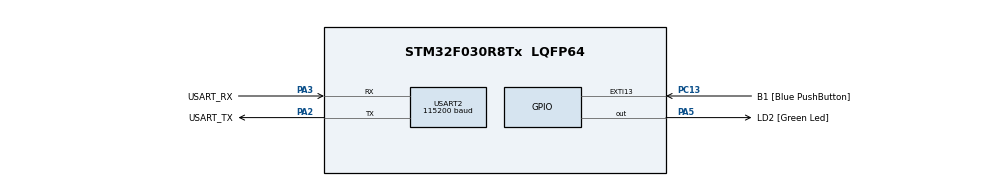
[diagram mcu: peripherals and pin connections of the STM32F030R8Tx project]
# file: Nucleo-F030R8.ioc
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Mcu.Family=STM32F0
Mcu.Name=STM32F030R8Tx
Mcu.Package=LQFP64
NVIC.USART2_IRQn=true\:0\:0\:false\:false\:true\:true\:true\:true
PA13.GPIO_Label=TMS
PA13.Mode=Serial_Wire
PA13.Signal=SYS_SWDIO
PA14.GPIO_Label=TCK
PA14.Mode=Serial_Wire
PA14.Signal=SYS_SWCLK
PA2.GPIO_Label=USART_TX
PA2.GPIO_Mode=GPIO_MODE_AF_PP
PA2.GPIO_PuPd=GPIO_NOPULL
PA2.GPIO_Speed=GPIO_SPEED_FREQ_LOW
PA2.Mode=Asynchronous
PA2.Signal=USART2_TX
PA3.GPIO_Label=USART_RX
PA3.GPIO_Mode=GPIO_MODE_AF_PP
PA3.GPIO_PuPd=GPIO_NOPULL
PA3.GPIO_Speed=GPIO_SPEED_FREQ_LOW
PA3.Mode=Asynchronous
PA3.Signal=USART2_RX
PA5.GPIO_Label=LD2 [Green Led]
PA5.GPIO_Mode=GPIO_MODE_OUTPUT_PP
PA5.GPIO_PuPd=GPIO_NOPULL
PA5.GPIO_Speed=GPIO_SPEED_FREQ_LOW
PA5.Signal=GPIO_Output
PC13.GPIO_Label=B1 [Blue PushButton]
PC13.GPIO_ModeDefaultEXTI=GPIO_MODE_IT_FALLING
PC13.Signal=GPXTI13
PC14-OSC32_IN.Mode=LSE-External-Oscillator
PC14-OSC32_IN.Signal=RCC_OSC32_IN
PC15-OSC32_OUT.Mode=LSE-External-Oscillator
PC15-OSC32_OUT.Signal=RCC_OSC32_OUT
PF0-OSC_IN.Mode=HSE-External-Clock-Source
PF0-OSC_IN.Signal=RCC_OSC_IN
PF1-OSC_OUT.Signal=RCC_OSC_OUT
ProjectManager.HeapSize=0x200
ProjectManager.StackSize=0x400
ProjectManager.TargetToolchain=Makefile
RCC.AHBFreq_Value=32000000
RCC.APB1Freq_Value=32000000
RCC.APB1TimFreq_Value=32000000
RCC.HCLKFreq_Value=32000000
RCC.PLLMUL=RCC_PLL_MUL8
RCC.SYSCLKFreq_VALUE=32000000
RCC.SYSCLKSource=RCC_SYSCLKSOURCE_PLLCLK
USART2.BaudRate=115200
USART2.VirtualMode-Asynchronous=VM_ASYNC
USART2.WordLength=WORDLENGTH_9B
board=NUCLEO-F030R8

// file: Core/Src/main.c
/* USER CODE BEGIN Header */
/**
 ******************************************************************************
 * @file           : main.c
 * @brief          : Main program body
 ******************************************************************************
 * @attention
 *
 * Copyright (c) 2024 STMicroelectronics.
 * All rights reserved.
 *
 * This software is licensed under terms that can be found in the LICENSE file
 * in the root directory of this software component.
 * If no LICENSE file comes with this software, it is provided AS-IS.
 *
 ******************************************************************************
 */
/* USER CODE END Header */
#include "main.h"

/* USER CODE BEGIN Includes */
#include "trice.h"
/* USER CODE END Includes */

void SystemClock_Config(void);
static void MX_GPIO_Init(void);
static void MX_USART2_UART_Init(void);

int main(void) {

	/* USER CODE BEGIN 1 */
#if !TRICE_OFF
	TriceInit(); // This so early, to allow trice logs inside interrupts from the beginning. Only needed for RTT.
	TriceHeadLine("  𝕹𝖀𝕮𝕷𝕰𝕺-F030R8   ");
#endif
	/* USER CODE END 1 */

	/* MCU Configuration--------------------------------------------------------*/

	/* Reset of all peripherals, Initializes the Flash interface and the Systick. */
	LL_APB1_GRP2_EnableClock(LL_APB1_GRP2_PERIPH_SYSCFG);
	LL_APB1_GRP1_EnableClock(LL_APB1_GRP1_PERIPH_PWR);

	/* Configure the system clock */
	SystemClock_Config();

	/* Initialize all configured peripherals */
	MX_GPIO_Init();
	MX_USART2_UART_Init();
	/* USER CODE BEGIN 2 */
#if !TRICE_OFF
	SysTick->CTRL |= SysTick_CTRL_TICKINT_Msk; // enable SysTick interrupt
	LogTriceConfiguration();
	SomeExampleTrices(3);
#endif
	/* USER CODE END 2 */

	/* Infinite loop */
	/* USER CODE BEGIN WHILE */
	while (1) {
#if !TRICE_OFF
		static uint32_t lastMs = 0;
		if (lastMs != ms32) { // each ms
			lastMs = ms32;

#if TRICE_DIAGNOSTICS == 1
			static uint32_t msDiag = 0;
			msDiag++;
			if (msDiag >= 3000) {
				msDiag = 0;
				TriceLogDiagnosticData();
			}
#endif
			static uint32_t msCheck = 0;
			msCheck++;
			if (msCheck >= 1000) {
				msCheck = 0;
				SomeExampleTrices(5);
			}

#if (TRICE_BUFFER == TRICE_RING_BUFFER) || (TRICE_BUFFER == TRICE_DOUBLE_BUFFER)

			static uint32_t msTransfer = 0;
			msTransfer++;
			if (msTransfer >= 100) {
				msTransfer = 0;
				// Serve deferred trice transfer every few ms or if TRICE_BUFFER is getting filled. With an RTOS put this in a separate task.
				// In TRICE_RING_BUFFER && TRICE_SINGLE_PACK_MODE TriceTransfer can transmit only 1 Trice per call, so call it every 1ms then.
				// In TRICE_DOUBLE_BUFFER TriceTransfer transmits one half buffer.
				TriceTransfer(); // serve deferred output
			}
#if TRICE_RING_BUFFER_OVERFLOW_WATCH == 1
			WatchRingBufferMargins();
#endif

#endif // #if ( TRICE_BUFFER == TRICE_RING_BUFFER) || ( TRICE_BUFFER == TRICE_DOUBLE_BUFFER)
		}

		/* USER CODE END WHILE */

		/* USER CODE BEGIN 3 */
#endif // #if !TRICE_OFF
	}
	/* USER CODE END 3 */
}

void SystemClock_Config(void) {
	LL_FLASH_SetLatency(LL_FLASH_LATENCY_1);
	while (LL_FLASH_GetLatency() != LL_FLASH_LATENCY_1) {
	}
	LL_RCC_HSI_Enable();

	/* Wait till HSI is ready */
	while (LL_RCC_HSI_IsReady() != 1) {
	}
	LL_RCC_HSI_SetCalibTrimming(16);
	LL_RCC_PLL_ConfigDomain_SYS(LL_RCC_PLLSOURCE_HSI_DIV_2, LL_RCC_PLL_MUL_8);
	LL_RCC_PLL_Enable();

	/* Wait till PLL is ready */
	while (LL_RCC_PLL_IsReady() != 1) {
	}
	LL_RCC_SetAHBPrescaler(LL_RCC_SYSCLK_DIV_1);
	LL_RCC_SetAPB1Prescaler(LL_RCC_APB1_DIV_1);
	LL_RCC_SetSysClkSource(LL_RCC_SYS_CLKSOURCE_PLL);

	/* Wait till System clock is ready */
	while (LL_RCC_GetSysClkSource() != LL_RCC_SYS_CLKSOURCE_STATUS_PLL) {
	}
	LL_Init1msTick(32000000);
	LL_SetSystemCoreClock(32000000);
}

static void MX_USART2_UART_Init(void) {

	LL_USART_InitTypeDef USART_InitStruct = {0};

	LL_GPIO_InitTypeDef GPIO_InitStruct = {0};

	/* Peripheral clock enable */
	LL_APB1_GRP1_EnableClock(LL_APB1_GRP1_PERIPH_USART2);

	LL_AHB1_GRP1_EnableClock(LL_AHB1_GRP1_PERIPH_GPIOA);
	/**USART2 GPIO Configuration
	PA2   ------> USART2_TX
	PA3   ------> USART2_RX
	 */
	GPIO_InitStruct.Pin = USART_TX_Pin;
	GPIO_InitStruct.Mode = LL_GPIO_MODE_ALTERNATE;
	GPIO_InitStruct.Speed = LL_GPIO_SPEED_FREQ_LOW;
	GPIO_InitStruct.OutputType = LL_GPIO_OUTPUT_PUSHPULL;
	GPIO_InitStruct.Pull = LL_GPIO_PULL_NO;
	GPIO_InitStruct.Alternate = LL_GPIO_AF_1;
	LL_GPIO_Init(USART_TX_GPIO_Port, &GPIO_InitStruct);

	GPIO_InitStruct.Pin = USART_RX_Pin;
	GPIO_InitStruct.Mode = LL_GPIO_MODE_ALTERNATE;
	GPIO_InitStruct.Speed = LL_GPIO_SPEED_FREQ_LOW;
	GPIO_InitStruct.OutputType = LL_GPIO_OUTPUT_PUSHPULL;
	GPIO_InitStruct.Pull = LL_GPIO_PULL_NO;
	GPIO_InitStruct.Alternate = LL_GPIO_AF_1;
	LL_GPIO_Init(USART_RX_GPIO_Port, &GPIO_InitStruct);

	/* USART2 interrupt Init */
	NVIC_SetPriority(USART2_IRQn, 0);
	NVIC_EnableIRQ(USART2_IRQn);

	USART_InitStruct.BaudRate = 115200;
	USART_InitStruct.DataWidth = LL_USART_DATAWIDTH_9B;
	USART_InitStruct.StopBits = LL_USART_STOPBITS_1;
	USART_InitStruct.Parity = LL_USART_PARITY_NONE;
	USART_InitStruct.TransferDirection = LL_USART_DIRECTION_TX_RX;
	USART_InitStruct.HardwareFlowControl = LL_USART_HWCONTROL_NONE;
	USART_InitStruct.OverSampling = LL_USART_OVERSAMPLING_16;
	LL_USART_Init(USART2, &USART_InitStruct);
	LL_USART_DisableIT_CTS(USART2);
	LL_USART_ConfigAsyncMode(USART2);
	LL_USART_Enable(USART2);
}

static void MX_GPIO_Init(void) {
	LL_EXTI_InitTypeDef EXTI_InitStruct = {0};
	LL_GPIO_InitTypeDef GPIO_InitStruct = {0};

	/* GPIO Ports Clock Enable */
	LL_AHB1_GRP1_EnableClock(LL_AHB1_GRP1_PERIPH_GPIOC);
	LL_AHB1_GRP1_EnableClock(LL_AHB1_GRP1_PERIPH_GPIOF);
	LL_AHB1_GRP1_EnableClock(LL_AHB1_GRP1_PERIPH_GPIOA);

	/**/
	LL_GPIO_ResetOutputPin(LD2_GPIO_Port, LD2_Pin);

	/**/
	LL_SYSCFG_SetEXTISource(LL_SYSCFG_EXTI_PORTC, LL_SYSCFG_EXTI_LINE13);

	/**/
	LL_GPIO_SetPinPull(B1_GPIO_Port, B1_Pin, LL_GPIO_PULL_NO);

	/**/
	LL_GPIO_SetPinMode(B1_GPIO_Port, B1_Pin, LL_GPIO_MODE_INPUT);

	/**/
	EXTI_InitStruct.Line_0_31 = LL_EXTI_LINE_13;
	EXTI_InitStruct.LineCommand = ENABLE;
	EXTI_InitStruct.Mode = LL_EXTI_MODE_IT;
	EXTI_InitStruct.Trigger = LL_EXTI_TRIGGER_FALLING;
	LL_EXTI_Init(&EXTI_InitStruct);

	/**/
	GPIO_InitStruct.Pin = LD2_Pin;
	GPIO_InitStruct.Mode = LL_GPIO_MODE_OUTPUT;
	GPIO_InitStruct.Speed = LL_GPIO_SPEED_FREQ_LOW;
	GPIO_InitStruct.OutputType = LL_GPIO_OUTPUT_PUSHPULL;
	GPIO_InitStruct.Pull = LL_GPIO_PULL_NO;
	LL_GPIO_Init(LD2_GPIO_Port, &GPIO_InitStruct);

}

void Error_Handler(void) {
	__disable_irq();
	while (1) {
	}
}
